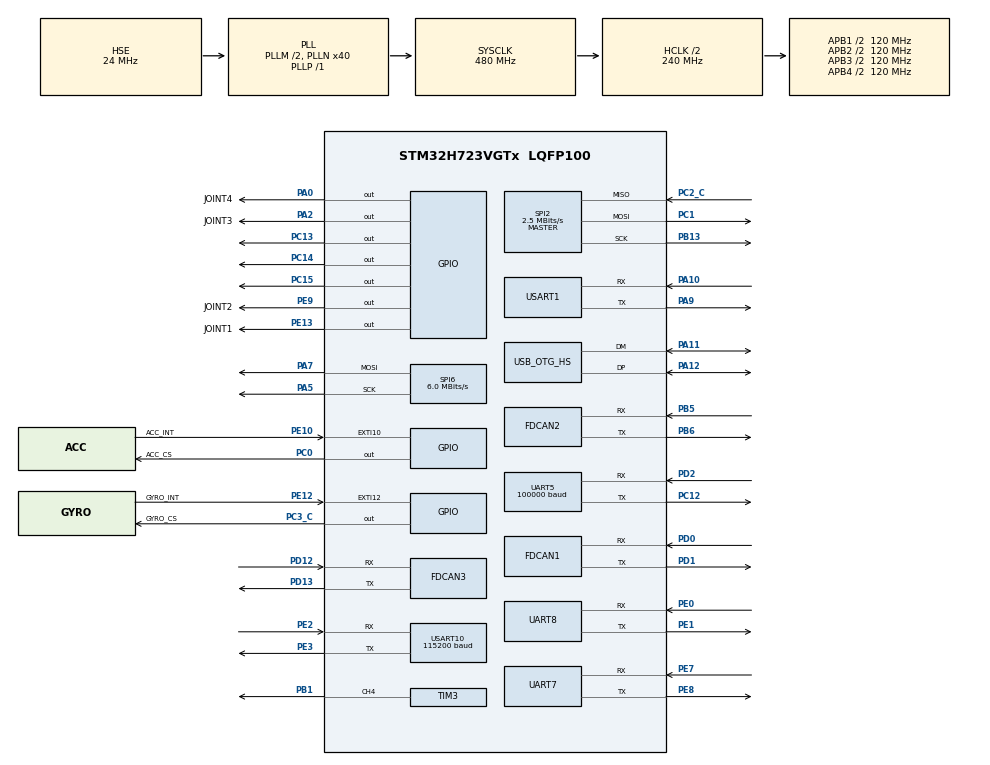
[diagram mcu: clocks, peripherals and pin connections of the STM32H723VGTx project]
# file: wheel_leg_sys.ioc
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Dma.Request0=SPI2_RX
Dma.Request1=SPI2_TX
Dma.Request10=UART7_RX
Dma.Request2=UART5_RX
Dma.Request3=UART8_RX
Dma.Request4=UART8_TX
Dma.Request5=USART10_RX
Dma.Request6=USART10_TX
Dma.Request7=USART1_RX
Dma.Request8=USART1_TX
Dma.Request9=UART7_TX
Dma.SPI2_RX.0.Direction=DMA_PERIPH_TO_MEMORY
Dma.SPI2_RX.0.EventEnable=DISABLE
Dma.SPI2_RX.0.FIFOMode=DMA_FIFOMODE_DISABLE
Dma.SPI2_RX.0.Instance=DMA1_Stream2
Dma.SPI2_RX.0.MemDataAlignment=DMA_MDATAALIGN_BYTE
Dma.SPI2_RX.0.MemInc=DMA_MINC_ENABLE
Dma.SPI2_RX.0.Mode=DMA_NORMAL
Dma.SPI2_RX.0.PeriphDataAlignment=DMA_PDATAALIGN_BYTE
Dma.SPI2_RX.0.PeriphInc=DMA_PINC_DISABLE
Dma.SPI2_RX.0.Polarity=HAL_DMAMUX_REQ_GEN_RISING
Dma.SPI2_RX.0.Priority=DMA_PRIORITY_VERY_HIGH
Dma.SPI2_RX.0.RequestNumber=1
Dma.SPI2_RX.0.SignalID=NONE
Dma.SPI2_RX.0.SyncEnable=DISABLE
Dma.SPI2_RX.0.SyncPolarity=HAL_DMAMUX_SYNC_NO_EVENT
Dma.SPI2_RX.0.SyncRequestNumber=1
Dma.SPI2_RX.0.SyncSignalID=NONE
Dma.SPI2_TX.1.Direction=DMA_MEMORY_TO_PERIPH
Dma.SPI2_TX.1.EventEnable=DISABLE
Dma.SPI2_TX.1.FIFOMode=DMA_FIFOMODE_DISABLE
Dma.SPI2_TX.1.Instance=DMA1_Stream1
Dma.SPI2_TX.1.MemDataAlignment=DMA_MDATAALIGN_BYTE
Dma.SPI2_TX.1.MemInc=DMA_MINC_ENABLE
Dma.SPI2_TX.1.Mode=DMA_NORMAL
Dma.SPI2_TX.1.PeriphDataAlignment=DMA_PDATAALIGN_BYTE
Dma.SPI2_TX.1.PeriphInc=DMA_PINC_DISABLE
Dma.SPI2_TX.1.Polarity=HAL_DMAMUX_REQ_GEN_RISING
Dma.SPI2_TX.1.Priority=DMA_PRIORITY_HIGH
Dma.SPI2_TX.1.RequestNumber=1
Dma.SPI2_TX.1.SignalID=NONE
Dma.SPI2_TX.1.SyncEnable=DISABLE
Dma.SPI2_TX.1.SyncPolarity=HAL_DMAMUX_SYNC_NO_EVENT
Dma.SPI2_TX.1.SyncRequestNumber=1
Dma.SPI2_TX.1.SyncSignalID=NONE
Dma.UART5_RX.2.Direction=DMA_PERIPH_TO_MEMORY
Dma.UART5_RX.2.EventEnable=DISABLE
Dma.UART5_RX.2.FIFOMode=DMA_FIFOMODE_DISABLE
Dma.UART5_RX.2.Instance=DMA1_Stream0
Dma.UART5_RX.2.MemDataAlignment=DMA_MDATAALIGN_BYTE
Dma.UART5_RX.2.MemInc=DMA_MINC_ENABLE
Dma.UART5_RX.2.Mode=DMA_CIRCULAR
Dma.UART5_RX.2.PeriphDataAlignment=DMA_PDATAALIGN_BYTE
Dma.UART5_RX.2.PeriphInc=DMA_PINC_DISABLE
Dma.UART5_RX.2.Polarity=HAL_DMAMUX_REQ_GEN_RISING
Dma.UART5_RX.2.Priority=DMA_PRIORITY_VERY_HIGH
Dma.UART5_RX.2.RequestNumber=1
Dma.UART5_RX.2.SignalID=NONE
Dma.UART5_RX.2.SyncEnable=DISABLE
Dma.UART5_RX.2.SyncPolarity=HAL_DMAMUX_SYNC_NO_EVENT
Dma.UART5_RX.2.SyncRequestNumber=1
Dma.UART5_RX.2.SyncSignalID=NONE
Dma.UART7_RX.10.Direction=DMA_PERIPH_TO_MEMORY
Dma.UART7_RX.10.EventEnable=DISABLE
Dma.UART7_RX.10.FIFOMode=DMA_FIFOMODE_DISABLE
Dma.UART7_RX.10.Instance=DMA2_Stream0
Dma.UART7_RX.10.MemDataAlignment=DMA_MDATAALIGN_BYTE
Dma.UART7_RX.10.MemInc=DMA_MINC_ENABLE
Dma.UART7_RX.10.Mode=DMA_NORMAL
Dma.UART7_RX.10.PeriphDataAlignment=DMA_PDATAALIGN_BYTE
Dma.UART7_RX.10.PeriphInc=DMA_PINC_DISABLE
Dma.UART7_RX.10.Polarity=HAL_DMAMUX_REQ_GEN_RISING
Dma.UART7_RX.10.Priority=DMA_PRIORITY_HIGH
Dma.UART7_RX.10.RequestNumber=1
Dma.UART7_RX.10.SignalID=NONE
Dma.UART7_RX.10.SyncEnable=DISABLE
Dma.UART7_RX.10.SyncPolarity=HAL_DMAMUX_SYNC_NO_EVENT
Dma.UART7_RX.10.SyncRequestNumber=1
Dma.UART7_RX.10.SyncSignalID=NONE
Dma.UART7_TX.9.Direction=DMA_MEMORY_TO_PERIPH
Dma.UART7_TX.9.EventEnable=DISABLE
Dma.UART7_TX.9.FIFOMode=DMA_FIFOMODE_DISABLE
Dma.UART7_TX.9.Instance=DMA1_Stream7
Dma.UART7_TX.9.MemDataAlignment=DMA_MDATAALIGN_BYTE
Dma.UART7_TX.9.MemInc=DMA_MINC_ENABLE
Dma.UART7_TX.9.Mode=DMA_NORMAL
Dma.UART7_TX.9.PeriphDataAlignment=DMA_PDATAALIGN_BYTE
Dma.UART7_TX.9.PeriphInc=DMA_PINC_DISABLE
Dma.UART7_TX.9.Polarity=HAL_DMAMUX_REQ_GEN_RISING
Dma.UART7_TX.9.Priority=DMA_PRIORITY_HIGH
Dma.UART7_TX.9.RequestNumber=1
Dma.UART7_TX.9.SignalID=NONE
Dma.UART7_TX.9.SyncEnable=DISABLE
Dma.UART7_TX.9.SyncPolarity=HAL_DMAMUX_SYNC_NO_EVENT
Dma.UART7_TX.9.SyncRequestNumber=1
Dma.UART7_TX.9.SyncSignalID=NONE
Dma.UART8_RX.3.Direction=DMA_PERIPH_TO_MEMORY
Dma.UART8_RX.3.EventEnable=DISABLE
Dma.UART8_RX.3.FIFOMode=DMA_FIFOMODE_DISABLE
Dma.UART8_RX.3.Instance=DMA1_Stream3
Dma.UART8_RX.3.MemDataAlignment=DMA_MDATAALIGN_BYTE
Dma.UART8_RX.3.MemInc=DMA_MINC_ENABLE
Dma.UART8_RX.3.Mode=DMA_CIRCULAR
Dma.UART8_RX.3.PeriphDataAlignment=DMA_PDATAALIGN_BYTE
Dma.UART8_RX.3.PeriphInc=DMA_PINC_DISABLE
Dma.UART8_RX.3.Polarity=HAL_DMAMUX_REQ_GEN_RISING
Dma.UART8_RX.3.Priority=DMA_PRIORITY_VERY_HIGH
Dma.UART8_RX.3.RequestNumber=1
Dma.UART8_RX.3.SignalID=NONE
Dma.UART8_RX.3.SyncEnable=DISABLE
Dma.UART8_RX.3.SyncPolarity=HAL_DMAMUX_SYNC_NO_EVENT
Dma.UART8_RX.3.SyncRequestNumber=1
Dma.UART8_RX.3.SyncSignalID=NONE
Dma.UART8_TX.4.Direction=DMA_MEMORY_TO_PERIPH
Dma.UART8_TX.4.EventEnable=DISABLE
Dma.UART8_TX.4.FIFOMode=DMA_FIFOMODE_DISABLE
Dma.UART8_TX.4.Instance=DMA1_Stream4
Dma.UART8_TX.4.MemDataAlignment=DMA_MDATAALIGN_BYTE
Dma.UART8_TX.4.MemInc=DMA_MINC_ENABLE
Dma.UART8_TX.4.Mode=DMA_CIRCULAR
Dma.UART8_TX.4.PeriphDataAlignment=DMA_PDATAALIGN_BYTE
Dma.UART8_TX.4.PeriphInc=DMA_PINC_DISABLE
Dma.UART8_TX.4.Polarity=HAL_DMAMUX_REQ_GEN_RISING
Dma.UART8_TX.4.Priority=DMA_PRIORITY_VERY_HIGH
Dma.UART8_TX.4.RequestNumber=1
Dma.UART8_TX.4.SignalID=NONE
Dma.UART8_TX.4.SyncEnable=DISABLE
Dma.UART8_TX.4.SyncPolarity=HAL_DMAMUX_SYNC_NO_EVENT
Dma.UART8_TX.4.SyncRequestNumber=1
Dma.UART8_TX.4.SyncSignalID=NONE
Dma.USART10_RX.5.Direction=DMA_PERIPH_TO_MEMORY
Dma.USART10_RX.5.EventEnable=DISABLE
Dma.USART10_RX.5.FIFOMode=DMA_FIFOMODE_DISABLE
Dma.USART10_RX.5.Instance=DMA1_Stream5
Dma.USART10_RX.5.MemDataAlignment=DMA_MDATAALIGN_BYTE
Dma.USART10_RX.5.MemInc=DMA_MINC_ENABLE
Dma.USART10_RX.5.Mode=DMA_CIRCULAR
Dma.USART10_RX.5.PeriphDataAlignment=DMA_PDATAALIGN_BYTE
Dma.USART10_RX.5.PeriphInc=DMA_PINC_DISABLE
Dma.USART10_RX.5.Polarity=HAL_DMAMUX_REQ_GEN_RISING
Dma.USART10_RX.5.Priority=DMA_PRIORITY_VERY_HIGH
Dma.USART10_RX.5.RequestNumber=1
Dma.USART10_RX.5.SignalID=NONE
Dma.USART10_RX.5.SyncEnable=DISABLE
Dma.USART10_RX.5.SyncPolarity=HAL_DMAMUX_SYNC_NO_EVENT
Dma.USART10_RX.5.SyncRequestNumber=1
Dma.USART10_RX.5.SyncSignalID=NONE
Dma.USART10_TX.6.Direction=DMA_MEMORY_TO_PERIPH
Dma.USART10_TX.6.EventEnable=DISABLE
Dma.USART10_TX.6.FIFOMode=DMA_FIFOMODE_DISABLE
Dma.USART10_TX.6.Instance=DMA1_Stream6
Dma.USART10_TX.6.MemDataAlignment=DMA_MDATAALIGN_BYTE
Dma.USART10_TX.6.MemInc=DMA_MINC_ENABLE
Dma.USART10_TX.6.Mode=DMA_CIRCULAR
Dma.USART10_TX.6.PeriphDataAlignment=DMA_PDATAALIGN_BYTE
Dma.USART10_TX.6.PeriphInc=DMA_PINC_DISABLE
Dma.USART10_TX.6.Polarity=HAL_DMAMUX_REQ_GEN_RISING
Dma.USART10_TX.6.Priority=DMA_PRIORITY_HIGH
Dma.USART10_TX.6.RequestNumber=1
Dma.USART10_TX.6.SignalID=NONE
Dma.USART10_TX.6.SyncEnable=DISABLE
Dma.USART10_TX.6.SyncPolarity=HAL_DMAMUX_SYNC_NO_EVENT
Dma.USART10_TX.6.SyncRequestNumber=1
Dma.USART10_TX.6.SyncSignalID=NONE
Dma.USART1_RX.7.Direction=DMA_PERIPH_TO_MEMORY
Dma.USART1_RX.7.EventEnable=DISABLE
Dma.USART1_RX.7.FIFOMode=DMA_FIFOMODE_DISABLE
Dma.USART1_RX.7.Instance=DMA2_Stream1
Dma.USART1_RX.7.MemDataAlignment=DMA_MDATAALIGN_BYTE
Dma.USART1_RX.7.MemInc=DMA_MINC_ENABLE
Dma.USART1_RX.7.Mode=DMA_CIRCULAR
Dma.USART1_RX.7.PeriphDataAlignment=DMA_PDATAALIGN_BYTE
Dma.USART1_RX.7.PeriphInc=DMA_PINC_DISABLE
Dma.USART1_RX.7.Polarity=HAL_DMAMUX_REQ_GEN_RISING
Dma.USART1_RX.7.Priority=DMA_PRIORITY_HIGH
Dma.USART1_RX.7.RequestNumber=1
Dma.USART1_RX.7.SignalID=NONE
Dma.USART1_RX.7.SyncEnable=DISABLE
Dma.USART1_RX.7.SyncPolarity=HAL_DMAMUX_SYNC_NO_EVENT
Dma.USART1_RX.7.SyncRequestNumber=1
Dma.USART1_RX.7.SyncSignalID=NONE
Dma.USART1_TX.8.Direction=DMA_MEMORY_TO_PERIPH
Dma.USART1_TX.8.EventEnable=DISABLE
Dma.USART1_TX.8.FIFOMode=DMA_FIFOMODE_DISABLE
Dma.USART1_TX.8.Instance=DMA2_Stream2
Dma.USART1_TX.8.MemDataAlignment=DMA_MDATAALIGN_BYTE
Dma.USART1_TX.8.MemInc=DMA_MINC_ENABLE
Dma.USART1_TX.8.Mode=DMA_CIRCULAR
Dma.USART1_TX.8.PeriphDataAlignment=DMA_PDATAALIGN_BYTE
Dma.USART1_TX.8.PeriphInc=DMA_PINC_DISABLE
Dma.USART1_TX.8.Polarity=HAL_DMAMUX_REQ_GEN_RISING
Dma.USART1_TX.8.Priority=DMA_PRIORITY_HIGH
Dma.USART1_TX.8.RequestNumber=1
Dma.USART1_TX.8.SignalID=NONE
Dma.USART1_TX.8.SyncEnable=DISABLE
Dma.USART1_TX.8.SyncPolarity=HAL_DMAMUX_SYNC_NO_EVENT
Dma.USART1_TX.8.SyncRequestNumber=1
Dma.USART1_TX.8.SyncSignalID=NONE
FDCAN1.AutoRetransmission=ENABLE
FDCAN1.CalculateBaudRateNominal=1000000
FDCAN1.CalculateTimeBitNominal=1000
FDCAN1.CalculateTimeQuantumNominal=12.5
FDCAN1.DataPrescaler=1
FDCAN1.DataSyncJumpWidth=2
FDCAN1.DataTimeSeg1=13
FDCAN1.DataTimeSeg2=2
FDCAN1.ExtFiltersNbr=4
FDCAN1.FrameFormat=FDCAN_FRAME_FD_BRS
FDCAN1.NominalPrescaler=1
FDCAN1.NominalSyncJumpWidth=20
FDCAN1.NominalTimeSeg1=59
FDCAN1.NominalTimeSeg2=20
FDCAN1.ProtocolException=ENABLE
FDCAN1.RxBuffersNbr=2
FDCAN1.RxFifo0ElmtSize=FDCAN_DATA_BYTES_8
FDCAN1.RxFifo0ElmtsNbr=10
FDCAN1.RxFifo1ElmtSize=FDCAN_DATA_BYTES_8
FDCAN1.RxFifo1ElmtsNbr=10
FDCAN1.StdFiltersNbr=4
FDCAN1.TxBuffersNbr=10
FDCAN1.TxElmtSize=FDCAN_DATA_BYTES_8
FDCAN1.TxEventsNbr=10
FDCAN1.TxFifoQueueElmtsNbr=10
FDCAN2.AutoRetransmission=DISABLE
FDCAN2.CalculateBaudRateNominal=1000000
FDCAN2.CalculateTimeBitNominal=1000
FDCAN2.CalculateTimeQuantumNominal=12.5
FDCAN2.DataPrescaler=4
FDCAN2.DataTimeSeg1=19
FDCAN2.DataTimeSeg2=5
FDCAN2.ExtFiltersNbr=0
FDCAN2.FrameFormat=FDCAN_FRAME_CLASSIC
FDCAN2.MessageRAMOffset=854
FDCAN2.NominalPrescaler=1
FDCAN2.NominalTimeSeg1=59
FDCAN2.NominalTimeSeg2=20
FDCAN2.ProtocolException=DISABLE
FDCAN2.RxFifo0ElmtsNbr=2
FDCAN2.RxFifo1ElmtSize=FDCAN_DATA_BYTES_8
FDCAN2.RxFifo1ElmtsNbr=0
FDCAN2.StdFiltersNbr=1
FDCAN2.TxElmtSize=FDCAN_DATA_BYTES_8
FDCAN2.TxFifoQueueElmtsNbr=2
FDCAN3.AutoRetransmission=ENABLE
FDCAN3.CalculateBaudRateNominal=1000000
FDCAN3.CalculateTimeBitNominal=1000
FDCAN3.CalculateTimeQuantumNominal=12.5
FDCAN3.DataPrescaler=1
FDCAN3.DataSyncJumpWidth=2
FDCAN3.DataTimeSeg1=13
FDCAN3.DataTimeSeg2=2
FDCAN3.ExtFiltersNbr=4
FDCAN3.FrameFormat=FDCAN_FRAME_FD_BRS
FDCAN3.MessageRAMOffset=0
FDCAN3.NominalPrescaler=1
FDCAN3.NominalSyncJumpWidth=20
FDCAN3.NominalTimeSeg1=59
FDCAN3.NominalTimeSeg2=20
FDCAN3.ProtocolException=ENABLE
FDCAN3.RxBuffersNbr=2
FDCAN3.RxFifo0ElmtsNbr=10
FDCAN3.RxFifo1ElmtsNbr=10
FDCAN3.StdFiltersNbr=4
FDCAN3.TransmitPause=DISABLE
FDCAN3.TxBuffersNbr=0
FDCAN3.TxEventsNbr=10
FDCAN3.TxFifoQueueElmtsNbr=10
FREERTOS.MEMORY_ALLOCATION=0
FREERTOS.Tasks01=defaultTask,0,128,StartDefaultTask,Default,NULL,Dynamic,NULL,NULL;INS_TASK,3,512,INS_Task,As external,NULL,Dynamic,NULL,NULL;ChassisL_TASK,1,512,ChassisL_Task,As external,NULL,Dynamic,NULL,NULL;Other_TASK,-2,128,Other_Task,As external,NULL,Dynamic,NULL,NULL;Host_Comm_TASK,2,128,Host_Comm_Task,As external,NULL,Dynamic,NULL,NULL;Can_Comm_TASK,2,128,Can_Comm_Task,As external,NULL,Dynamic,NULL,NULL;UI_TASK,1,256,UI_Task,As external,NULL,Dynamic,NULL,NULL
FREERTOS.configENABLE_FPU=1
FREERTOS.configTOTAL_HEAP_SIZE=30720
FREERTOS.configUSE_NEWLIB_REENTRANT=1
Mcu.Family=STM32H7
Mcu.Name=STM32H723VGTx
Mcu.Package=LQFP100
NVIC.DMA1_Stream0_IRQn=true\:5\:0\:true\:false\:true\:true\:false\:true\:true
NVIC.DMA1_Stream1_IRQn=true\:5\:0\:true\:false\:true\:true\:false\:true\:true
NVIC.DMA1_Stream2_IRQn=true\:5\:0\:false\:false\:true\:true\:false\:true\:true
NVIC.DMA1_Stream3_IRQn=true\:5\:0\:false\:false\:true\:true\:false\:true\:true
NVIC.DMA1_Stream4_IRQn=true\:5\:0\:false\:false\:true\:true\:false\:true\:true
NVIC.DMA1_Stream5_IRQn=true\:5\:0\:false\:false\:true\:true\:false\:true\:true
NVIC.DMA1_Stream6_IRQn=true\:5\:0\:false\:false\:true\:true\:false\:true\:true
NVIC.DMA1_Stream7_IRQn=true\:5\:0\:false\:false\:true\:true\:false\:true\:true
NVIC.DMA2_Stream0_IRQn=true\:5\:0\:false\:false\:true\:true\:false\:true\:true
NVIC.DMA2_Stream1_IRQn=true\:5\:0\:false\:false\:true\:true\:false\:true\:true
NVIC.DMA2_Stream2_IRQn=true\:5\:0\:false\:false\:true\:true\:false\:true\:true
NVIC.FDCAN1_IT0_IRQn=true\:5\:0\:true\:false\:true\:true\:true\:true\:true
NVIC.FDCAN1_IT1_IRQn=true\:5\:0\:false\:false\:true\:true\:true\:true\:true
NVIC.FDCAN2_IT0_IRQn=true\:5\:0\:true\:false\:true\:true\:true\:true\:true
NVIC.FDCAN3_IT0_IRQn=true\:5\:0\:false\:false\:true\:true\:true\:true\:true
NVIC.FDCAN3_IT1_IRQn=true\:5\:0\:false\:false\:true\:true\:true\:true\:true
NVIC.FDCAN_CAL_IRQn=true\:5\:0\:false\:false\:true\:true\:true\:true\:true
NVIC.OTG_HS_IRQn=true\:5\:0\:false\:false\:true\:true\:true\:true\:true
NVIC.PriorityGroup=NVIC_PRIORITYGROUP_4
NVIC.SPI2_IRQn=true\:5\:0\:true\:false\:true\:true\:false\:true\:true
NVIC.TIM2_IRQn=true\:15\:0\:false\:false\:true\:false\:false\:true\:true
NVIC.TimeBase=TIM2_IRQn
NVIC.TimeBaseIP=TIM2
NVIC.UART5_IRQn=true\:5\:0\:false\:false\:true\:true\:true\:true\:true
NVIC.UART7_IRQn=true\:5\:0\:false\:false\:true\:true\:true\:true\:true
NVIC.UART8_IRQn=true\:5\:0\:false\:false\:true\:true\:true\:true\:true
NVIC.USART10_IRQn=true\:5\:0\:false\:false\:true\:true\:true\:true\:true
NVIC.USART1_IRQn=true\:5\:0\:false\:false\:true\:true\:true\:true\:true
PA0.GPIO_Label=JOINT4
PA0.GPIO_ModeDefaultOutputPP=GPIO_MODE_OUTPUT_OD
PA0.GPIO_PuPd=GPIO_PULLUP
PA0.PinState=GPIO_PIN_RESET
PA0.Signal=GPIO_Output
PA10.GPIO_Speed=GPIO_SPEED_FREQ_VERY_HIGH
PA10.Mode=Asynchronous
PA10.Signal=USART1_RX
PA11.Mode=Device_Only_FS
PA11.Signal=USB_OTG_HS_DM
PA12.Mode=Device_Only_FS
PA12.Signal=USB_OTG_HS_DP
PA13(JTMS/SWDIO).Mode=Serial_Wire
PA13(JTMS/SWDIO).Signal=DEBUG_JTMS-SWDIO
PA14(JTCK/SWCLK).Mode=Serial_Wire
PA14(JTCK/SWCLK).Signal=DEBUG_JTCK-SWCLK
PA2.GPIO_Label=JOINT3
PA2.GPIO_ModeDefaultOutputPP=GPIO_MODE_OUTPUT_PP
PA2.GPIO_PuPd=GPIO_PULLUP
PA2.GPIO_Speed=GPIO_SPEED_FREQ_LOW
PA2.PinState=GPIO_PIN_RESET
PA2.Signal=GPIO_Output
PA5.GPIO_Speed=GPIO_SPEED_FREQ_VERY_HIGH
PA5.Mode=TX_Only_Simplex_Unidirect_Master
PA5.Signal=SPI6_SCK
PA7.GPIO_Speed=GPIO_SPEED_FREQ_VERY_HIGH
PA7.Mode=TX_Only_Simplex_Unidirect_Master
PA7.Signal=SPI6_MOSI
PA9.GPIO_Speed=GPIO_SPEED_FREQ_VERY_HIGH
PA9.Mode=Asynchronous
PA9.Signal=USART1_TX
PB1.Signal=S_TIM3_CH4
PB13.GPIO_Speed=GPIO_SPEED_FREQ_VERY_HIGH
PB13.Mode=Full_Duplex_Master
PB13.Signal=SPI2_SCK
PB5.Mode=FDCAN_Activate
PB5.Signal=FDCAN2_RX
PB6.Mode=FDCAN_Activate
PB6.Signal=FDCAN2_TX
PC0.GPIO_Label=ACC_CS
PC0.GPIO_Speed=GPIO_SPEED_FREQ_VERY_HIGH
PC0.PinState=GPIO_PIN_SET
PC0.Signal=GPIO_Output
PC1.GPIO_Speed=GPIO_SPEED_FREQ_VERY_HIGH
PC1.Mode=Full_Duplex_Master
PC1.Signal=SPI2_MOSI
PC12.GPIO_Speed=GPIO_SPEED_FREQ_VERY_HIGH
PC12.Mode=Asynchronous
PC12.Signal=UART5_TX
PC13.Signal=GPIO_Output
PC14-OSC32_IN.Signal=GPIO_Output
PC15-OSC32_OUT.PinState=GPIO_PIN_RESET
PC15-OSC32_OUT.Signal=GPIO_Output
PC2_C.GPIO_Speed=GPIO_SPEED_FREQ_VERY_HIGH
PC2_C.Mode=Full_Duplex_Master
PC2_C.Signal=SPI2_MISO
PC3_C.GPIO_Label=GYRO_CS
PC3_C.GPIO_Speed=GPIO_SPEED_FREQ_VERY_HIGH
PC3_C.PinState=GPIO_PIN_SET
PC3_C.Signal=GPIO_Output
PD0.Mode=FDCAN_Activate
PD0.Signal=FDCAN1_RX
PD1.Mode=FDCAN_Activate
PD1.Signal=FDCAN1_TX
PD12.GPIO_Speed=GPIO_SPEED_FREQ_LOW
PD12.Mode=FDCAN_Activate
PD12.Signal=FDCAN3_RX
PD13.GPIO_Speed=GPIO_SPEED_FREQ_LOW
PD13.Mode=FDCAN_Activate
PD13.Signal=FDCAN3_TX
PD2.GPIO_Speed=GPIO_SPEED_FREQ_VERY_HIGH
PD2.Mode=Asynchronous
PD2.Signal=UART5_RX
PE0.GPIO_Speed=GPIO_SPEED_FREQ_VERY_HIGH
PE0.Mode=Asynchronous
PE0.Signal=UART8_RX
PE1.GPIO_Speed=GPIO_SPEED_FREQ_VERY_HIGH
PE1.Mode=Asynchronous
PE1.Signal=UART8_TX
PE10.GPIO_Label=ACC_INT
PE10.Signal=GPXTI10
PE12.GPIO_Label=GYRO_INT
PE12.Signal=GPXTI12
PE13.GPIO_Label=JOINT1
PE13.GPIO_ModeDefaultOutputPP=GPIO_MODE_OUTPUT_OD
PE13.GPIO_PuPd=GPIO_PULLUP
PE13.GPIO_Speed=GPIO_SPEED_FREQ_LOW
PE13.PinState=GPIO_PIN_RESET
PE13.Signal=GPIO_Output
PE2.GPIO_Speed=GPIO_SPEED_FREQ_VERY_HIGH
PE2.Mode=Asynchronous
PE2.Signal=USART10_RX
PE3.GPIO_Speed=GPIO_SPEED_FREQ_VERY_HIGH
PE3.Mode=Asynchronous
PE3.Signal=USART10_TX
PE7.Mode=Asynchronous
PE7.Signal=UART7_RX
PE8.Mode=Asynchronous
PE8.Signal=UART7_TX
PE9.GPIO_Label=JOINT2
PE9.GPIO_ModeDefaultOutputPP=GPIO_MODE_OUTPUT_OD
PE9.GPIO_PuPd=GPIO_PULLUP
PE9.GPIO_Speed=GPIO_SPEED_FREQ_LOW
PE9.PinState=GPIO_PIN_RESET
PE9.Signal=GPIO_Output
PH0-OSC_IN.Mode=HSE-External-Oscillator
PH0-OSC_IN.Signal=RCC_OSC_IN
PH1-OSC_OUT.Mode=HSE-External-Oscillator
PH1-OSC_OUT.Signal=RCC_OSC_OUT
ProjectManager.HeapSize=0x4000
ProjectManager.StackSize=0x4000
ProjectManager.TargetToolchain=STM32CubeIDE
RCC.ADCFreq_Value=48375000
RCC.APB1Freq_Value=120000000
RCC.APB2Freq_Value=120000000
RCC.APB3Freq_Value=120000000
RCC.APB4Freq_Value=120000000
RCC.CortexFreq_Value=480000000
RCC.D1PPRE=RCC_APB3_DIV2
RCC.D2PPRE1=RCC_APB1_DIV2
RCC.D2PPRE2=RCC_APB2_DIV2
RCC.D3PPRE=RCC_APB4_DIV2
RCC.DIVM1=2
RCC.DIVN1=40
RCC.DIVP1=1
RCC.DIVQ1=6
RCC.HCLKFreq_Value=240000000
RCC.HPRE=RCC_HCLK_DIV2
RCC.HSE_VALUE=24000000
RCC.PLL2FRACN=0
RCC.PLL3FRACN=0
RCC.PLLFRACN=0
RCC.PLLSourceVirtual=RCC_PLLSOURCE_HSE
RCC.SPI6CLockSelection=RCC_SPI6CLKSOURCE_HSE
RCC.SYSCLKFreq_VALUE=480000000
RCC.SYSCLKSource=RCC_SYSCLKSOURCE_PLLCLK
RCC.USBCLockSelection=RCC_USBCLKSOURCE_HSI48
RCC.USBFreq_Value=48000000
SH.S_TIM3_CH4.0=TIM3_CH4,PWM Generation4 CH4
SPI2.BaudRatePrescaler=SPI_BAUDRATEPRESCALER_32
SPI2.CLKPhase=SPI_PHASE_2EDGE
SPI2.CLKPolarity=SPI_POLARITY_HIGH
SPI2.CalculateBaudRate=2.5 MBits/s
SPI2.DataSize=SPI_DATASIZE_8BIT
SPI2.Direction=SPI_DIRECTION_2LINES
SPI2.Mode=SPI_MODE_MASTER
SPI2.VirtualType=VM_MASTER
SPI6.BaudRatePrescaler=SPI_BAUDRATEPRESCALER_4
SPI6.CLKPhase=SPI_PHASE_2EDGE
SPI6.CalculateBaudRate=6.0 MBits/s
SPI6.DataSize=SPI_DATASIZE_8BIT
SPI6.Direction=SPI_DIRECTION_2LINES_TXONLY
SPI6.Mode=SPI_MODE_MASTER
SPI6.VirtualType=VM_MASTER
STMicroelectronics.X-CUBE-ALGOBUILD.1.4.0.LibraryCcDSPOoLibraryJjDSPOoLibrary=true
TIM3.AutoReloadPreload=TIM_AUTORELOAD_PRELOAD_ENABLE
TIM3.Channel-PWM\ Generation4\ CH4=TIM_CHANNEL_4
TIM3.Period=10000-1
TIM3.Prescaler=24-1
UART5.BaudRate=100000
UART5.Parity=PARITY_EVEN
UART5.StopBits=UART_STOPBITS_2
UART5.WordLength=WORDLENGTH_9B
USART1.VirtualMode-Asynchronous=VM_ASYNC
USART10.BaudRate=115200
USART10.Parity=PARITY_NONE
USART10.StopBits=STOPBITS_1
USART10.VirtualMode=VM_ASYNC
USART10.WordLength=WORDLENGTH_8B
USB_DEVICE.CLASS_NAME_HS=CDC
USB_DEVICE.VirtualMode=Cdc
USB_DEVICE.VirtualModeHS=Cdc_HS
USB_OTG_HS.VirtualMode-Device_Only_FS=Device_Only_FS
VP_FREERTOS_VS_CMSIS_V1.Mode=CMSIS_V1
VP_MEMORYMAP_VS_MEMORYMAP.Mode=CurAppReg
VP_STMicroelectronics.X-CUBE-ALGOBUILD_VS_DSPOoLibraryJjLibrary_1.4.0_1.4.0.Mode=DSPOoLibraryJjLibrary
VP_SYS_VS_tim2.Mode=TIM2
VP_USB_DEVICE_VS_USB_DEVICE_CDC_HS.Mode=CDC_HS
board=custom

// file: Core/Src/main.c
/* USER CODE BEGIN Header */
/**
  ******************************************************************************
  * @file           : main.c
  * @brief          : Main program body
  ******************************************************************************
  * @attention
  *
  * Copyright (c) 2025 STMicroelectronics.
  * All rights reserved.
  *
  * This software is licensed under terms that can be found in the LICENSE file
  * in the root directory of this software component.
  * If no LICENSE file comes with this software, it is provided AS-IS.
  *
  ******************************************************************************
  */
/* USER CODE END Header */
#include "main.h"
#include "cmsis_os.h"
#include "dma.h"
#include "fdcan.h"
#include "spi.h"
#include "tim.h"
#include "usart.h"
#include "usb_device.h"
#include "gpio.h"

/* USER CODE BEGIN Includes */
#include "BMI088driver.h"
#include "kalman_filter.h"
#include "mahony_filter.h"
#include "bsp_dwt.h"
#include "BMI088Middleware.h"
#include "remote_control.h"
#include "CAN_callback.h"
#include "CAN_receive.h"
/* USER CODE END Includes */

void SystemClock_Config(void);
void MX_FREERTOS_Init(void);

int main(void)
{

  /* MCU Configuration--------------------------------------------------------*/

  /* Reset of all peripherals, Initializes the Flash interface and the Systick. */
  HAL_Init();

  /* Configure the system clock */
  SystemClock_Config();

  /* Initialize all configured peripherals */
  MX_GPIO_Init();
  MX_DMA_Init();
  MX_SPI2_Init();
  MX_FDCAN1_Init();
  MX_FDCAN2_Init();
  MX_TIM3_Init();
  MX_FDCAN3_Init();
  MX_UART5_Init();
  MX_SPI6_Init();
  MX_UART8_Init();
  MX_USART10_UART_Init();
  MX_UART7_Init();
  MX_USART1_UART_Init();
  /* USER CODE BEGIN 2 */
  DWT_Init(480);
  // 遥控器初始化
  remote_control_init();

  // FDCAN初始化
  FDCAN_Set_Baud(&hfdcan1, CAN_CLASS, CAN_BR_1M);
  FDCAN_Set_Baud(&hfdcan3, CAN_CLASS, CAN_BR_1M);
  CAN_Init(&hfdcan1, CAN_Motor_Call_Back_FDCAN1);
  CAN_Init(&hfdcan2, CAN_Motor_Call_Back_FDCAN2);
  CAN_Init(&hfdcan3, CAN_Motor_Call_Back_FDCAN3);

  // BMI088初始化
  while (BMI088_init(&hspi2, 0) != BMI088_NO_ERROR)
  {
    ;
  }
  Power_OUT1_ON;//imu初始化完成，可控电源打开，led灯亮
  Power_OUT2_ON;
  Power_OUT3_ON;

  Motor_Joint1_ON;
  Motor_Joint2_ON;
  Motor_Joint3_ON;
  Motor_Joint4_ON;

  // Motor_Joint1_OFF;
  // Motor_Joint2_OFF;
  // Motor_Joint3_OFF;
  // Motor_Joint4_OFF;

  /* USER CODE END 2 */

  /* Call init function for freertos objects (in cmsis_os2.c) */
  MX_FREERTOS_Init();

  /* Start scheduler */
  osKernelStart();

  /* We should never get here as control is now taken by the scheduler */

  /* Infinite loop */
  while (1)
  {

  }
}

void SystemClock_Config(void)
{
  RCC_OscInitTypeDef RCC_OscInitStruct = {0};
  RCC_ClkInitTypeDef RCC_ClkInitStruct = {0};

  /** Supply configuration update enable
  */
  HAL_PWREx_ConfigSupply(PWR_LDO_SUPPLY);

  /** Configure the main internal regulator output voltage
  */
  __HAL_PWR_VOLTAGESCALING_CONFIG(PWR_REGULATOR_VOLTAGE_SCALE0);

  while(!__HAL_PWR_GET_FLAG(PWR_FLAG_VOSRDY)) {}

  /** Initializes the RCC Oscillators according to the specified parameters
  * in the RCC_OscInitTypeDef structure.
  */
  RCC_OscInitStruct.OscillatorType = RCC_OSCILLATORTYPE_HSI48|RCC_OSCILLATORTYPE_HSE;
  RCC_OscInitStruct.HSEState = RCC_HSE_ON;
  RCC_OscInitStruct.HSI48State = RCC_HSI48_ON;
  RCC_OscInitStruct.PLL.PLLState = RCC_PLL_ON;
  RCC_OscInitStruct.PLL.PLLSource = RCC_PLLSOURCE_HSE;
  RCC_OscInitStruct.PLL.PLLM = 2;
  RCC_OscInitStruct.PLL.PLLN = 40;
  RCC_OscInitStruct.PLL.PLLP = 1;
  RCC_OscInitStruct.PLL.PLLQ = 6;
  RCC_OscInitStruct.PLL.PLLR = 2;
  RCC_OscInitStruct.PLL.PLLRGE = RCC_PLL1VCIRANGE_3;
  RCC_OscInitStruct.PLL.PLLVCOSEL = RCC_PLL1VCOWIDE;
  RCC_OscInitStruct.PLL.PLLFRACN = 0;
  if (HAL_RCC_OscConfig(&RCC_OscInitStruct) != HAL_OK)
  {
    Error_Handler();
  }

  /** Initializes the CPU, AHB and APB buses clocks
  */
  RCC_ClkInitStruct.ClockType = RCC_CLOCKTYPE_HCLK|RCC_CLOCKTYPE_SYSCLK
                              |RCC_CLOCKTYPE_PCLK1|RCC_CLOCKTYPE_PCLK2
                              |RCC_CLOCKTYPE_D3PCLK1|RCC_CLOCKTYPE_D1PCLK1;
  RCC_ClkInitStruct.SYSCLKSource = RCC_SYSCLKSOURCE_PLLCLK;
  RCC_ClkInitStruct.SYSCLKDivider = RCC_SYSCLK_DIV1;
  RCC_ClkInitStruct.AHBCLKDivider = RCC_HCLK_DIV2;
  RCC_ClkInitStruct.APB3CLKDivider = RCC_APB3_DIV2;
  RCC_ClkInitStruct.APB1CLKDivider = RCC_APB1_DIV2;
  RCC_ClkInitStruct.APB2CLKDivider = RCC_APB2_DIV2;
  RCC_ClkInitStruct.APB4CLKDivider = RCC_APB4_DIV2;

  if (HAL_RCC_ClockConfig(&RCC_ClkInitStruct, FLASH_LATENCY_3) != HAL_OK)
  {
    Error_Handler();
  }
}

void HAL_TIM_PeriodElapsedCallback(TIM_HandleTypeDef *htim)
{
  if (htim->Instance == TIM2)
  {
    HAL_IncTick();
  }
}

void Error_Handler(void)
{
  __disable_irq();
  while (1)
  {
  }
}

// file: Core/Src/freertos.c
/* USER CODE BEGIN Header */
/**
  ******************************************************************************
  * File Name          : freertos.c
  * Description        : Code for freertos applications
  ******************************************************************************
  * @attention
  *
  * Copyright (c) 2025 STMicroelectronics.
  * All rights reserved.
  *
  * This software is licensed under terms that can be found in the LICENSE file
  * in the root directory of this software component.
  * If no LICENSE file comes with this software, it is provided AS-IS.
  *
  ******************************************************************************
  */
/* USER CODE END Header */

#include "FreeRTOS.h"
#include "task.h"
#include "main.h"
#include "cmsis_os.h"

osThreadId defaultTaskHandle;
osThreadId INS_TASKHandle;
osThreadId ChassisL_TASKHandle;
osThreadId Other_TASKHandle;
osThreadId Host_Comm_TASKHandle;
osThreadId Can_Comm_TASKHandle;
osThreadId UI_TASKHandle;

void StartDefaultTask(void const * argument);
extern void INS_Task(void const * argument);
extern void ChassisL_Task(void const * argument);
extern void Other_Task(void const * argument);
extern void Host_Comm_Task(void const * argument);
extern void Can_Comm_Task(void const * argument);
extern void UI_Task(void const * argument);

extern void MX_USB_DEVICE_Init(void);
void MX_FREERTOS_Init(void); /* (MISRA C 2004 rule 8.1) */

void MX_FREERTOS_Init(void) {

  /* Create the thread(s) */
  /* definition and creation of defaultTask */
  osThreadDef(defaultTask, StartDefaultTask, osPriorityNormal, 0, 128);
  defaultTaskHandle = osThreadCreate(osThread(defaultTask), NULL);

  /* definition and creation of INS_TASK */
  osThreadDef(INS_TASK, INS_Task, osPriorityRealtime, 0, 512);
  INS_TASKHandle = osThreadCreate(osThread(INS_TASK), NULL);

  /* definition and creation of ChassisL_TASK */
  osThreadDef(ChassisL_TASK, ChassisL_Task, osPriorityAboveNormal, 0, 512);
  ChassisL_TASKHandle = osThreadCreate(osThread(ChassisL_TASK), NULL);

  /* definition and creation of Other_TASK */
  osThreadDef(Other_TASK, Other_Task, osPriorityLow, 0, 128);
  Other_TASKHandle = osThreadCreate(osThread(Other_TASK), NULL);

  /* definition and creation of Host_Comm_TASK */
  osThreadDef(Host_Comm_TASK, Host_Comm_Task, osPriorityHigh, 0, 128);
  Host_Comm_TASKHandle = osThreadCreate(osThread(Host_Comm_TASK), NULL);

  /* definition and creation of Can_Comm_TASK */
  osThreadDef(Can_Comm_TASK, Can_Comm_Task, osPriorityHigh, 0, 128);
  Can_Comm_TASKHandle = osThreadCreate(osThread(Can_Comm_TASK), NULL);

  /* definition and creation of UI_TASK */
  osThreadDef(UI_TASK, UI_Task, osPriorityAboveNormal, 0, 256);
  UI_TASKHandle = osThreadCreate(osThread(UI_TASK), NULL);

}

void StartDefaultTask(void const * argument)
{
  /* init code for USB_DEVICE */
  MX_USB_DEVICE_Init();
  for(;;)
  {
    osDelay(1);
  }
}
